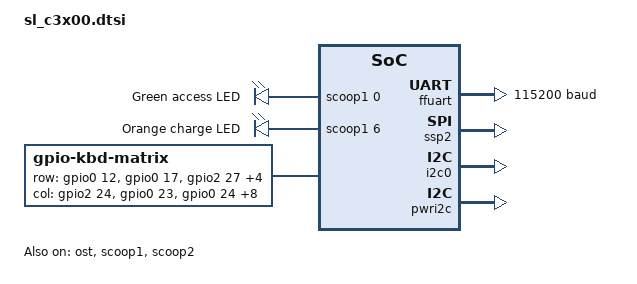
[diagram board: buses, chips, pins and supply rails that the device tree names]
/*
 * Copyright (c) 2026 Takayuki Goto
 *
 * SPDX-License-Identifier: Apache-2.0
 *
 * Common to the PXA270 Zaurus clamshells SL-C3000 (Spitz), SL-C3100 (Borzoi)
 * and SL-C3200 (Terrier), laid out as Linux's spitz.c does: the same PXA270,
 * 64 MB of SDRAM in bank 0, FFUART, two SCOOP chips, the LCD and its timing
 * generator on SSP2, and the keyboard. The models differ in storage (NAND
 * size, microdrive), which nothing here touches. A board .dts includes this
 * and sets its own model and compatible.
 */

#include <arm/intel/pxa270.dtsi>
#include <zephyr/dt-bindings/gpio/gpio.h>
#include <zephyr/dt-bindings/input/input-event-codes.h>
#include <zephyr/dt-bindings/input/keymap.h>

/ {
	aliases {
		led0 = &green_led;
		led1 = &orange_led;
	};

	/*
	 * Both LEDs hang off the first SCOOP, active high, as in Linux's
	 * spitz.c: green is the "access" LED, orange the charge LED. QEMU
	 * prints these as "Green LED on/off" with the polarity inverted.
	 */
	leds {
		compatible = "gpio-leds";

		green_led: led_0 {
			gpios = <&scoop1 0 GPIO_ACTIVE_HIGH>;
			label = "Green access LED";
		};

		orange_led: led_1 {
			gpios = <&scoop1 6 GPIO_ACTIVE_HIGH>;
			label = "Orange charge LED";
		};
	};

	/*
	 * The keyboard: eleven strobe (column) lines driven high one at a time,
	 * seven sense (row) lines read back high for a pressed key, as Linux's
	 * spitz.c sets up matrix-keypad. Unselected strobes float. The key
	 * interrupt is not wired up, so the matrix is polled.
	 */
	kbd: kbd-matrix {
		compatible = "gpio-kbd-matrix";
		row-gpios = <&gpio0 12 GPIO_ACTIVE_HIGH>,
			    <&gpio0 17 GPIO_ACTIVE_HIGH>,
			    <&gpio2 27 GPIO_ACTIVE_HIGH>,
			    <&gpio1 2 GPIO_ACTIVE_HIGH>,
			    <&gpio1 4 GPIO_ACTIVE_HIGH>,
			    <&gpio1 6 GPIO_ACTIVE_HIGH>,
			    <&gpio1 7 GPIO_ACTIVE_HIGH>;
		col-gpios = <&gpio2 24 GPIO_ACTIVE_HIGH>,
			    <&gpio0 23 GPIO_ACTIVE_HIGH>,
			    <&gpio0 24 GPIO_ACTIVE_HIGH>,
			    <&gpio0 25 GPIO_ACTIVE_HIGH>,
			    <&gpio0 26 GPIO_ACTIVE_HIGH>,
			    <&gpio0 27 GPIO_ACTIVE_HIGH>,
			    <&gpio1 20 GPIO_ACTIVE_HIGH>,
			    <&gpio3 7 GPIO_ACTIVE_HIGH>,
			    <&gpio3 11 GPIO_ACTIVE_HIGH>,
			    <&gpio3 12 GPIO_ACTIVE_HIGH>,
			    <&gpio3 18 GPIO_ACTIVE_HIGH>;
		idle-mode = "poll";
		settle-time-us = <10>;
		debounce-down-ms = <10>;
		debounce-up-ms = <20>;

		/*
		 * Linux's spitz_keymap. The keys without a PC equivalent use
		 * Linux's codes for them: F1 Calendar, F2 Address, F3 Fn,
		 * F4 Cancel, F5/F6 jog OK/Cancel, F7/F8 jog down/up, F9 Sync,
		 * F10 Mail, F11 OK, F12 Menu, LEFTALT/RIGHTCTRL the two
		 * Japanese input keys.
		 */
		keymap {
			compatible = "input-keymap";
			row-size = <7>;
			col-size = <11>;
			keymap = <
				MATRIX_KEY(0, 0, INPUT_KEY_LEFTCTRL)
				MATRIX_KEY(0, 1, INPUT_KEY_1)
				MATRIX_KEY(0, 2, INPUT_KEY_3)
				MATRIX_KEY(0, 3, INPUT_KEY_5)
				MATRIX_KEY(0, 4, INPUT_KEY_6)
				MATRIX_KEY(0, 5, INPUT_KEY_7)
				MATRIX_KEY(0, 6, INPUT_KEY_9)
				MATRIX_KEY(0, 7, INPUT_KEY_0)
				MATRIX_KEY(0, 8, INPUT_KEY_BACKSPACE)
				MATRIX_KEY(0, 9, INPUT_KEY_F5)
				MATRIX_KEY(0, 10, INPUT_KEY_F6)
				MATRIX_KEY(1, 1, INPUT_KEY_2)
				MATRIX_KEY(1, 2, INPUT_KEY_4)
				MATRIX_KEY(1, 3, INPUT_KEY_R)
				MATRIX_KEY(1, 4, INPUT_KEY_Y)
				MATRIX_KEY(1, 5, INPUT_KEY_8)
				MATRIX_KEY(1, 6, INPUT_KEY_I)
				MATRIX_KEY(1, 7, INPUT_KEY_O)
				MATRIX_KEY(1, 8, INPUT_KEY_P)
				MATRIX_KEY(1, 9, INPUT_KEY_F7)
				MATRIX_KEY(1, 10, INPUT_KEY_F8)
				MATRIX_KEY(2, 0, INPUT_KEY_TAB)
				MATRIX_KEY(2, 1, INPUT_KEY_Q)
				MATRIX_KEY(2, 2, INPUT_KEY_E)
				MATRIX_KEY(2, 3, INPUT_KEY_T)
				MATRIX_KEY(2, 4, INPUT_KEY_G)
				MATRIX_KEY(2, 5, INPUT_KEY_U)
				MATRIX_KEY(2, 6, INPUT_KEY_J)
				MATRIX_KEY(2, 7, INPUT_KEY_K)
				MATRIX_KEY(3, 0, INPUT_KEY_F2)
				MATRIX_KEY(3, 1, INPUT_KEY_W)
				MATRIX_KEY(3, 2, INPUT_KEY_S)
				MATRIX_KEY(3, 3, INPUT_KEY_F)
				MATRIX_KEY(3, 4, INPUT_KEY_V)
				MATRIX_KEY(3, 5, INPUT_KEY_H)
				MATRIX_KEY(3, 6, INPUT_KEY_M)
				MATRIX_KEY(3, 7, INPUT_KEY_L)
				MATRIX_KEY(3, 9, INPUT_KEY_RIGHTSHIFT)
				MATRIX_KEY(4, 0, INPUT_KEY_F1)
				MATRIX_KEY(4, 1, INPUT_KEY_A)
				MATRIX_KEY(4, 2, INPUT_KEY_D)
				MATRIX_KEY(4, 3, INPUT_KEY_C)
				MATRIX_KEY(4, 4, INPUT_KEY_B)
				MATRIX_KEY(4, 5, INPUT_KEY_N)
				MATRIX_KEY(4, 6, INPUT_KEY_DOT)
				MATRIX_KEY(4, 8, INPUT_KEY_ENTER)
				MATRIX_KEY(4, 9, INPUT_KEY_LEFTSHIFT)
				MATRIX_KEY(5, 0, INPUT_KEY_F10)
				MATRIX_KEY(5, 1, INPUT_KEY_Z)
				MATRIX_KEY(5, 2, INPUT_KEY_X)
				MATRIX_KEY(5, 3, INPUT_KEY_MINUS)
				MATRIX_KEY(5, 4, INPUT_KEY_SPACE)
				MATRIX_KEY(5, 5, INPUT_KEY_COMMA)
				MATRIX_KEY(5, 7, INPUT_KEY_UP)
				MATRIX_KEY(5, 10, INPUT_KEY_F3)
				MATRIX_KEY(6, 0, INPUT_KEY_SYSRQ)
				MATRIX_KEY(6, 1, INPUT_KEY_LEFTALT)
				MATRIX_KEY(6, 2, INPUT_KEY_RIGHTCTRL)
				MATRIX_KEY(6, 3, INPUT_KEY_F4)
				MATRIX_KEY(6, 4, INPUT_KEY_F11)
				MATRIX_KEY(6, 5, INPUT_KEY_F12)
				MATRIX_KEY(6, 6, INPUT_KEY_LEFT)
				MATRIX_KEY(6, 7, INPUT_KEY_DOWN)
				MATRIX_KEY(6, 8, INPUT_KEY_RIGHT)
			>;
		};
	};

	soc {
		/* Sharp SCOOP companion chips, on static chip selects 4 and 2 */
		scoop1: gpio@10800000 {
			compatible = "sharp,scoop";
			reg = <0x10800000 0x40>;
			gpio-controller;
			#gpio-cells = <2>;
			ngpios = <12>;
			status = "okay";
		};

		/* Backlight and IrDA controls */
		scoop2: gpio@8800040 {
			compatible = "sharp,scoop";
			reg = <0x08800040 0x40>;
			gpio-controller;
			#gpio-cells = <2>;
			ngpios = <12>;
			status = "okay";
		};
	};

	/*
	 * 64 MB of SDRAM in bank 0. The bottom 32 kB is left out of the image:
	 * that is where the Sharp boot loader parks its parameter block, and
	 * it is also where a Linux kernel would keep its page tables, so
	 * keeping the same hole makes the two interchangeable.
	 */
	sram0: memory@a0008000 {
		device_type = "memory";
		compatible = "mmio-sram";
		reg = <0xa0008000 (DT_SIZE_M(64) - 0x8000)>;
	};

	chosen {
		zephyr,sram = &sram0;
		zephyr,console = &ffuart;
		zephyr,shell-uart = &ffuart;
	};
};

/* Console on the serial lines of the docking connector. */
&ffuart {
	status = "okay";
	current-speed = <115200>;
};

&ost {
	status = "okay";
};

&gpio0 {
	status = "okay";
};

&gpio1 {
	status = "okay";
};

&gpio2 {
	status = "okay";
};

&gpio3 {
	status = "okay";
};

/*
 * SSP2 carries the touch screen ADC, the LCD timing generator and the
 * battery ADC, each on its own GPIO chip select (Linux: spi2.0 to spi2.2).
 * The boot loader has already routed the SSP2 pins.
 */
&ssp2 {
	status = "okay";
	cs-gpios = <&gpio0 14 GPIO_ACTIVE_LOW>,
		   <&gpio1 21 GPIO_ACTIVE_LOW>,
		   <&gpio0 20 GPIO_ACTIVE_LOW>;
};

/* WM8750 audio codec at 0x1b */
&i2c0 {
	status = "okay";
};

/* ISL6271A core voltage regulator at 0x0c */
&pwri2c {
	status = "okay";
};
